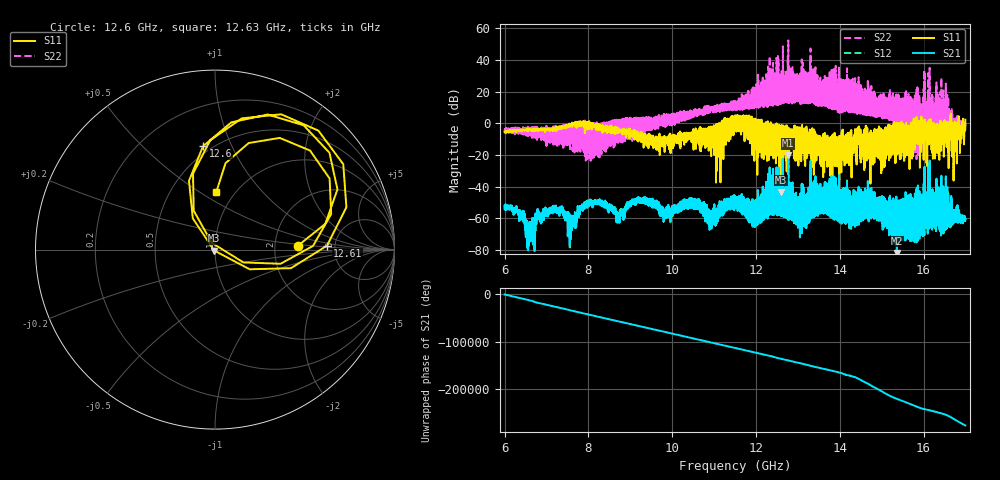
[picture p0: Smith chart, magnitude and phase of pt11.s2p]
#  HZ  S  RI  R  50.00
! Rohde & Schwarz Vector Network Analyzer
! Rohde-Schwarz,ZNA67-2Port,1332450062101215,3.01
! Created: UTC 10/15/2026, 1:41:13 PM
! freq[Hz]  re:S11  im:S11  re:S21  im:S21  re:S12  im:S12  re:S22  im:S22
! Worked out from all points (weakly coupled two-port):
!   11001 points, 6 GHz to 17 GHz, reference 50 ohm
!   highest |S21| = -20.27 dB at 12.77 GHz (marker M1); lowest = -82.0 dB at 15.37 GHz (marker M2)
!   lowest |S11| = -43.3 dB at 12.61 GHz (marker M3), VSWR 1.01, Z = 49.6 - j0.534 ohm
!   |S11| at or under -10 dB: 9.829087 GHz to 9.868981 GHz (39.89 MHz wide, 0.405 % of centre); 13.65186 GHz to 13.70162 GHz (49.77 MHz wide, 0.364 % of centre); 13.71996 GHz to 13.77001 GHz (50.05 MHz wide, 0.364 % of centre) (the widest 3 of 479)
!   |S22| runs from -23.7 to 52.4 dB; largest |S21 - S12| = 0.013
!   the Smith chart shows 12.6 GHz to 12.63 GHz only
!   S11 on the Smith chart (normalised r, x): 12.6 GHz: 2.71, +0.15; 12.6 GHz: 0.45, +0.78; 12.61 GHz: 4.30, +0.31; 12.63 GHz: 0.82, +0.59
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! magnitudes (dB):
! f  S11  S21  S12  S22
! 6 GHz  -5.3  -54.3  -54.2  -4.9
! 6.423 GHz  -3.9  -57.2  -57.2  -4.0
! 6.583 GHz  -4.2  -68.0  -67.6  -7.1
! 6.963 GHz  -4.7  -54.9  -54.8  -2.9
! 7.608 GHz  0.5  -62.1  -62.1  -5.4
! 7.834 GHz  -0.5  -52.3  -52.0  -9.1
! 9.667 GHz  -10.6  -53.8  -53.8  -1.0
! 10.6 GHz  -7.6  -51.2  -51.1  5.3
! 10.9 GHz  -4.0  -62.3  -62.7  8.4
! 11.5 GHz  4.6  -53.8  -53.6  9.5
! 11.98 GHz  -1.6  -49.3  -48.7  22.2
! 12.6 GHz  -6.7  -53.5  -53.4  16.6
! 12.6 GHz  -4.7  -41.4  -41.1  29.2
! 12.61 GHz  -43.3  -58.7  -59.0  12.8
! 12.61 GHz  -4.1  -38.8  -38.8  33.0
! 12.63 GHz  -9.9  -55.6  -55.1  15.7
! 12.77 GHz  -7.0  -20.3  -20.7  52.4
! 13.06 GHz  -5.2  -44.3  -45.2  31.6
! 13.33 GHz  -7.0  -55.7  -55.9  16.2
! 15.17 GHz  -9.5  -58.8  -58.4  8.2
! 15.37 GHz  -10.2  -82.0  -81.5  -0.2
! 17 GHz  2.4  -60.3  -60.4  -0.3
